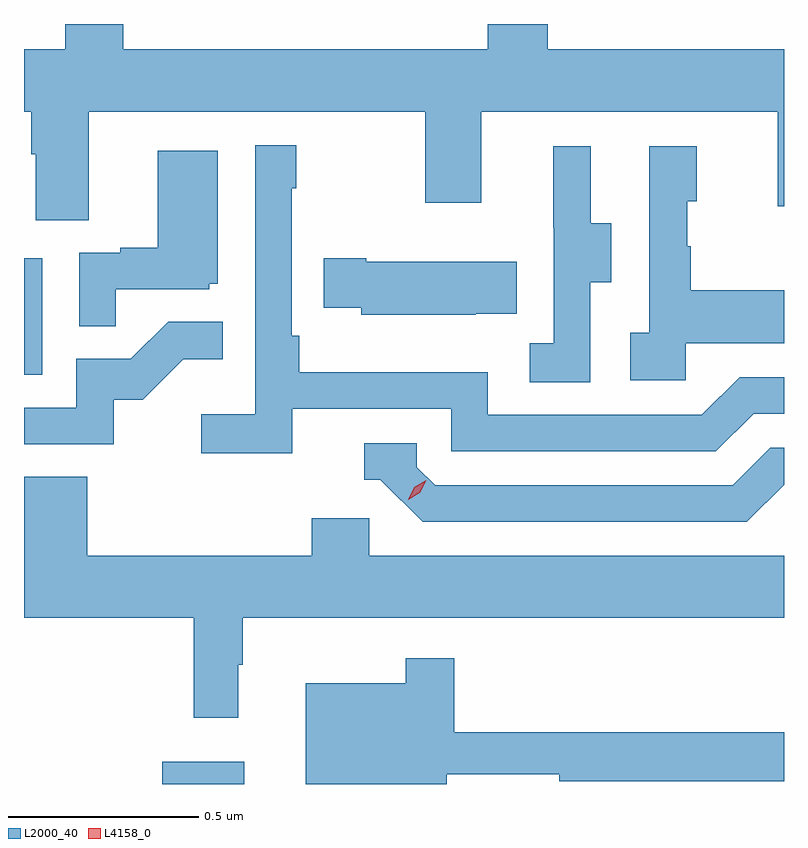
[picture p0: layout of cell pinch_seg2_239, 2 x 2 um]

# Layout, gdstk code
import gdstk
lib = gdstk.Library(unit=1e-6, precision=1e-09)
def R(c, l, rs):  # rectangles x0, y0, x1, y1
    for r in rs: c.add(gdstk.rectangle(r[:2], r[2:], *l))
def P(c, l, *ps):  # polygons
    for p in ps: c.add(gdstk.Polygon(p, *l))
L2000_40 = (2000, 40)
L4158_0 = (4158, 0)

pinch_seg2_239 = lib.new_cell('pinch_seg2_239')
R(pinch_seg2_239, L2000_40, [(933.476,657.855,933.691,657.913), (933.112,658.932,933.16,659.239)])
P(pinch_seg2_239, L2000_40, [(933.283,659.624),(934.168,659.624),(934.168,659.385),(934.315,659.385),(934.315,659.624),(935.096,659.624),(935.096,659.376),(935.112,659.376),(935.112,659.788),(934.49,659.788),(934.49,659.855),(934.333,659.855),(934.333,659.788),(933.373,659.788),(933.373,659.855),(933.221,659.855),(933.221,659.788),(933.112,659.788),(933.112,659.624),(933.131,659.624),(933.131,659.512),(933.143,659.512),(933.143,659.338),(933.283,659.338)],
  [(933.818,658.842),(934.236,658.842),(934.236,658.731),(934.933,658.731),(935.032,658.83),(935.112,658.83),(935.112,658.926),(934.995,658.926),(934.896,658.827),(934.332,658.827),(934.332,658.939),(933.836,658.939),(933.836,659.035),(933.816,659.035),(933.816,659.423),(933.829,659.423),(933.829,659.536),(933.72,659.536),(933.72,658.828),(933.579,658.828),(933.579,658.726),(933.818,658.726)],
  [(934.602,659.176),(934.657,659.176),(934.657,659.331),(934.603,659.331),(934.603,659.533),(934.505,659.533),(934.505,659.319),(934.506,659.319),(934.506,659.015),(934.443,659.015),(934.443,658.912),(934.602,658.912)],
  [(934.854,659.015),(935.112,659.015),(935.112,659.155),(934.867,659.155),(934.867,659.27),(934.857,659.27),(934.857,659.388),(934.882,659.388),(934.882,659.533),(934.758,659.533),(934.758,659.042),(934.707,659.042),(934.707,658.917),(934.854,658.917)],
  [(933.353,659.157),(933.6,659.157),(933.6,659.172),(933.622,659.172),(933.622,659.521),(933.464,659.521),(933.464,659.266),(933.365,659.266),(933.365,659.253),(933.258,659.253),(933.258,659.059),(933.353,659.059)],
  [(934.301,659.093),(934.409,659.093),(934.409,659.23),(934.012,659.23),(934.012,659.238),(933.901,659.238),(933.901,659.108),(933.999,659.108),(933.999,659.09),(934.301,659.09)],
  [(933.348,658.866),(933.424,658.866),(933.531,658.973),(933.635,658.973),(933.635,659.072),(933.491,659.072),(933.393,658.974),(933.249,658.974),(933.249,658.845),(933.112,658.845),(933.112,658.749),(933.348,658.749)],
  [(935.112,658.643),(935.112,658.74),(935.076,658.74),(934.977,658.641),(934.194,658.641),(934.146,658.689),(934.146,658.752),(934.007,658.752),(934.007,658.656),(934.05,658.656),(934.161,658.545),(935.014,658.545)],
  [(933.676,658.169),(933.688,658.169),(933.688,658.292),(935.112,658.292),(935.112,658.456),(934.02,658.456),(934.02,658.554),(933.869,658.554),(933.869,658.456),(933.278,658.456),(933.278,658.664),(933.113,658.664),(933.113,658.456),(933.112,658.456),(933.112,658.292),(933.559,658.292),(933.559,658.029),(933.676,658.029)],
  [(934.225,657.881),(934.521,657.881),(934.521,657.862),(935.112,657.862),(935.112,657.991),(934.244,657.991),(934.244,658.186),(934.116,658.186),(934.116,658.12),(933.854,658.12),(933.854,657.855),(934.225,657.855)])
P(pinch_seg2_239, L4158_0, [(934.123,658.603),(934.123,658.603),(934.139,658.636),(934.17,658.655),(934.17,658.655),(934.17,658.655),(934.154,658.622),(934.123,658.603)])

lib.write_gds('pinch_seg2_239.gds')
